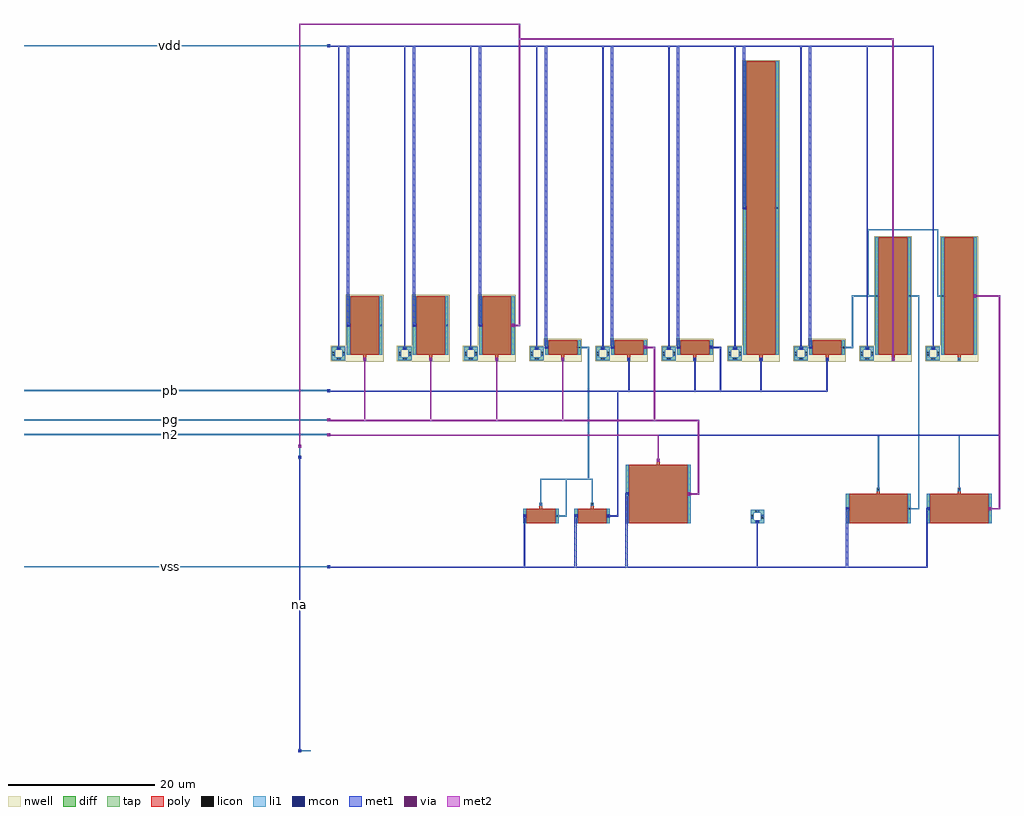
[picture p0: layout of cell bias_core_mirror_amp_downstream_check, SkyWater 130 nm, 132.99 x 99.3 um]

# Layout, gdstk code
import gdstk
lib = gdstk.Library(unit=1e-6, precision=1e-09)
def R(c, l, rs):  # rectangles x0, y0, x1, y1
    for r in rs: c.add(gdstk.rectangle(r[:2], r[2:], *l))
def A(c, l, x, y, w, h, nx, ny, dx, dy):  # array of equal rectangles
    R(c, l, [(x+i*dx, y+j*dy, x+i*dx+w, y+j*dy+h) for i in range(nx) for j in range(ny)])
def P(c, l, *ps):  # polygons
    for p in ps: c.add(gdstk.Polygon(p, *l))
nwell = (64, 20)
diff = (65, 20)
tap = (65, 44)
poly = (66, 20)
licon = (66, 44)
li1 = (67, 20)
mcon = (67, 44)
met1 = (68, 20)
via = (68, 44)
met2 = (69, 20)

stub_na__promo_stub_v = lib.new_cell('stub_na__promo_stub_v')
R(stub_na__promo_stub_v, li1, [(0,0,0.17,1.5)])

stub_n2__promo_stub = lib.new_cell('stub_n2__promo_stub')
R(stub_n2__promo_stub, li1, [(0,0,1.5,0.17)])

stub_pb__promo_stub = lib.new_cell('stub_pb__promo_stub')
R(stub_pb__promo_stub, li1, [(0,0,1.5,0.17)])

stub_pg__promo_stub = lib.new_cell('stub_pg__promo_stub')
R(stub_pg__promo_stub, li1, [(0,0,1.5,0.17)])

stub_vss__promo_stub = lib.new_cell('stub_vss__promo_stub')
R(stub_vss__promo_stub, li1, [(0,0,1.5,0.17)])

stub_vdd__promo_stub = lib.new_cell('stub_vdd__promo_stub')
R(stub_vdd__promo_stub, li1, [(0,0,1.5,0.17)])

guard_ring_10 = lib.new_cell('guard_ring$10')
P(guard_ring_10, tap, [(0,0),(0,1.42),(0.42,1.42),(0.42,0.42),(1.42,0.42),(1.42,1.42),(0,1.42),(0,1.84),(1.84,1.84),(1.84,0)])
R(guard_ring_10, licon, [(0.643,0.1,0.863,0.32), (0.977,0.1,1.197,0.32), (0.1,0.643,0.32,0.863), (1.52,0.643,1.74,0.863), (0.1,0.977,0.32,1.197), (1.52,0.977,1.74,1.197), (0.643,1.52,0.863,1.74), (0.977,1.52,1.197,1.74)])
P(guard_ring_10, li1, [(0,0),(0,1.42),(0.42,1.42),(0.42,0.42),(1.42,0.42),(1.42,1.42),(0,1.42),(0,1.84),(1.84,1.84),(1.84,0)])

pst__pst = lib.new_cell('pst__pst')
pst__pst.add(gdstk.Reference(guard_ring_10, (0,0)))

guard_ring_9 = lib.new_cell('guard_ring$9')
R(guard_ring_9, nwell, [(-0.15,-0.15,1.99,1.99)])
P(guard_ring_9, tap, [(0,0),(0,1.42),(0.42,1.42),(0.42,0.42),(1.42,0.42),(1.42,1.42),(0,1.42),(0,1.84),(1.84,1.84),(1.84,0)])
R(guard_ring_9, licon, [(0.643,0.1,0.863,0.32), (0.977,0.1,1.197,0.32), (0.1,0.643,0.32,0.863), (1.52,0.643,1.74,0.863), (0.1,0.977,0.32,1.197), (1.52,0.977,1.74,1.197), (0.643,1.52,0.863,1.74), (0.977,1.52,1.197,1.74)])
P(guard_ring_9, li1, [(0,0),(0,1.42),(0.42,1.42),(0.42,0.42),(1.42,0.42),(1.42,1.42),(0,1.42),(0,1.84),(1.84,1.84),(1.84,0)])

nwt_mi2__nwt_mi2 = lib.new_cell('nwt_mi2__nwt_mi2')
nwt_mi2__nwt_mi2.add(gdstk.Reference(guard_ring_9, (0,0)))

guard_ring_8 = lib.new_cell('guard_ring$8')
R(guard_ring_8, nwell, [(-0.15,-0.15,1.99,1.99)])
P(guard_ring_8, tap, [(0,0),(0,1.42),(0.42,1.42),(0.42,0.42),(1.42,0.42),(1.42,1.42),(0,1.42),(0,1.84),(1.84,1.84),(1.84,0)])
R(guard_ring_8, licon, [(0.643,0.1,0.863,0.32), (0.977,0.1,1.197,0.32), (0.1,0.643,0.32,0.863), (1.52,0.643,1.74,0.863), (0.1,0.977,0.32,1.197), (1.52,0.977,1.74,1.197), (0.643,1.52,0.863,1.74), (0.977,1.52,1.197,1.74)])
P(guard_ring_8, li1, [(0,0),(0,1.42),(0.42,1.42),(0.42,0.42),(1.42,0.42),(1.42,1.42),(0,1.42),(0,1.84),(1.84,1.84),(1.84,0)])

nwt_mi1__nwt_mi1 = lib.new_cell('nwt_mi1__nwt_mi1')
nwt_mi1__nwt_mi1.add(gdstk.Reference(guard_ring_8, (0,0)))

guard_ring_7 = lib.new_cell('guard_ring$7')
R(guard_ring_7, nwell, [(-0.15,-0.15,1.99,1.99)])
P(guard_ring_7, tap, [(0,0),(0,1.42),(0.42,1.42),(0.42,0.42),(1.42,0.42),(1.42,1.42),(0,1.42),(0,1.84),(1.84,1.84),(1.84,0)])
R(guard_ring_7, licon, [(0.643,0.1,0.863,0.32), (0.977,0.1,1.197,0.32), (0.1,0.643,0.32,0.863), (1.52,0.643,1.74,0.863), (0.1,0.977,0.32,1.197), (1.52,0.977,1.74,1.197), (0.643,1.52,0.863,1.74), (0.977,1.52,1.197,1.74)])
P(guard_ring_7, li1, [(0,0),(0,1.42),(0.42,1.42),(0.42,0.42),(1.42,0.42),(1.42,1.42),(0,1.42),(0,1.84),(1.84,1.84),(1.84,0)])

nwt_mpt__nwt_mpt = lib.new_cell('nwt_mpt__nwt_mpt')
nwt_mpt__nwt_mpt.add(gdstk.Reference(guard_ring_7, (0,0)))

guard_ring_6 = lib.new_cell('guard_ring$6')
R(guard_ring_6, nwell, [(-0.15,-0.15,1.99,1.99)])
P(guard_ring_6, tap, [(0,0),(0,1.42),(0.42,1.42),(0.42,0.42),(1.42,0.42),(1.42,1.42),(0,1.42),(0,1.84),(1.84,1.84),(1.84,0)])
R(guard_ring_6, licon, [(0.643,0.1,0.863,0.32), (0.977,0.1,1.197,0.32), (0.1,0.643,0.32,0.863), (1.52,0.643,1.74,0.863), (0.1,0.977,0.32,1.197), (1.52,0.977,1.74,1.197), (0.643,1.52,0.863,1.74), (0.977,1.52,1.197,1.74)])
P(guard_ring_6, li1, [(0,0),(0,1.42),(0.42,1.42),(0.42,0.42),(1.42,0.42),(1.42,1.42),(0,1.42),(0,1.84),(1.84,1.84),(1.84,0)])

nwt_mpib__nwt_mpib = lib.new_cell('nwt_mpib__nwt_mpib')
nwt_mpib__nwt_mpib.add(gdstk.Reference(guard_ring_6, (0,0)))

guard_ring_5 = lib.new_cell('guard_ring$5')
R(guard_ring_5, nwell, [(-0.15,-0.15,1.99,1.99)])
P(guard_ring_5, tap, [(0,0),(0,1.42),(0.42,1.42),(0.42,0.42),(1.42,0.42),(1.42,1.42),(0,1.42),(0,1.84),(1.84,1.84),(1.84,0)])
R(guard_ring_5, licon, [(0.643,0.1,0.863,0.32), (0.977,0.1,1.197,0.32), (0.1,0.643,0.32,0.863), (1.52,0.643,1.74,0.863), (0.1,0.977,0.32,1.197), (1.52,0.977,1.74,1.197), (0.643,1.52,0.863,1.74), (0.977,1.52,1.197,1.74)])
P(guard_ring_5, li1, [(0,0),(0,1.42),(0.42,1.42),(0.42,0.42),(1.42,0.42),(1.42,1.42),(0,1.42),(0,1.84),(1.84,1.84),(1.84,0)])

nwt_mbp__nwt_mbp = lib.new_cell('nwt_mbp__nwt_mbp')
nwt_mbp__nwt_mbp.add(gdstk.Reference(guard_ring_5, (0,0)))

guard_ring_4 = lib.new_cell('guard_ring$4')
R(guard_ring_4, nwell, [(-0.15,-0.15,1.99,1.99)])
P(guard_ring_4, tap, [(0,0),(0,1.42),(0.42,1.42),(0.42,0.42),(1.42,0.42),(1.42,1.42),(0,1.42),(0,1.84),(1.84,1.84),(1.84,0)])
R(guard_ring_4, licon, [(0.643,0.1,0.863,0.32), (0.977,0.1,1.197,0.32), (0.1,0.643,0.32,0.863), (1.52,0.643,1.74,0.863), (0.1,0.977,0.32,1.197), (1.52,0.977,1.74,1.197), (0.643,1.52,0.863,1.74), (0.977,1.52,1.197,1.74)])
P(guard_ring_4, li1, [(0,0),(0,1.42),(0.42,1.42),(0.42,0.42),(1.42,0.42),(1.42,1.42),(0,1.42),(0,1.84),(1.84,1.84),(1.84,0)])

nwt_ms2p__nwt_ms2p = lib.new_cell('nwt_ms2p__nwt_ms2p')
nwt_ms2p__nwt_ms2p.add(gdstk.Reference(guard_ring_4, (0,0)))

guard_ring_3 = lib.new_cell('guard_ring$3')
R(guard_ring_3, nwell, [(-0.15,-0.15,1.99,1.99)])
P(guard_ring_3, tap, [(0,0),(0,1.42),(0.42,1.42),(0.42,0.42),(1.42,0.42),(1.42,1.42),(0,1.42),(0,1.84),(1.84,1.84),(1.84,0)])
R(guard_ring_3, licon, [(0.643,0.1,0.863,0.32), (0.977,0.1,1.197,0.32), (0.1,0.643,0.32,0.863), (1.52,0.643,1.74,0.863), (0.1,0.977,0.32,1.197), (1.52,0.977,1.74,1.197), (0.643,1.52,0.863,1.74), (0.977,1.52,1.197,1.74)])
P(guard_ring_3, li1, [(0,0),(0,1.42),(0.42,1.42),(0.42,0.42),(1.42,0.42),(1.42,1.42),(0,1.42),(0,1.84),(1.84,1.84),(1.84,0)])

nwt_mpbn__nwt_mpbn = lib.new_cell('nwt_mpbn__nwt_mpbn')
nwt_mpbn__nwt_mpbn.add(gdstk.Reference(guard_ring_3, (0,0)))

guard_ring_2 = lib.new_cell('guard_ring$2')
R(guard_ring_2, nwell, [(-0.15,-0.15,1.99,1.99)])
P(guard_ring_2, tap, [(0,0),(0,1.42),(0.42,1.42),(0.42,0.42),(1.42,0.42),(1.42,1.42),(0,1.42),(0,1.84),(1.84,1.84),(1.84,0)])
R(guard_ring_2, licon, [(0.643,0.1,0.863,0.32), (0.977,0.1,1.197,0.32), (0.1,0.643,0.32,0.863), (1.52,0.643,1.74,0.863), (0.1,0.977,0.32,1.197), (1.52,0.977,1.74,1.197), (0.643,1.52,0.863,1.74), (0.977,1.52,1.197,1.74)])
P(guard_ring_2, li1, [(0,0),(0,1.42),(0.42,1.42),(0.42,0.42),(1.42,0.42),(1.42,1.42),(0,1.42),(0,1.84),(1.84,1.84),(1.84,0)])

nwt_mp1__nwt_mp1 = lib.new_cell('nwt_mp1__nwt_mp1')
nwt_mp1__nwt_mp1.add(gdstk.Reference(guard_ring_2, (0,0)))

guard_ring_1 = lib.new_cell('guard_ring$1')
R(guard_ring_1, nwell, [(-0.15,-0.15,1.99,1.99)])
P(guard_ring_1, tap, [(0,0),(0,1.42),(0.42,1.42),(0.42,0.42),(1.42,0.42),(1.42,1.42),(0,1.42),(0,1.84),(1.84,1.84),(1.84,0)])
R(guard_ring_1, licon, [(0.643,0.1,0.863,0.32), (0.977,0.1,1.197,0.32), (0.1,0.643,0.32,0.863), (1.52,0.643,1.74,0.863), (0.1,0.977,0.32,1.197), (1.52,0.977,1.74,1.197), (0.643,1.52,0.863,1.74), (0.977,1.52,1.197,1.74)])
P(guard_ring_1, li1, [(0,0),(0,1.42),(0.42,1.42),(0.42,0.42),(1.42,0.42),(1.42,1.42),(0,1.42),(0,1.84),(1.84,1.84),(1.84,0)])

nwt_mp3__nwt_mp3 = lib.new_cell('nwt_mp3__nwt_mp3')
nwt_mp3__nwt_mp3.add(gdstk.Reference(guard_ring_1, (0,0)))

guard_ring = lib.new_cell('guard_ring')
R(guard_ring, nwell, [(-0.15,-0.15,1.99,1.99)])
P(guard_ring, tap, [(0,0),(0,1.42),(0.42,1.42),(0.42,0.42),(1.42,0.42),(1.42,1.42),(0,1.42),(0,1.84),(1.84,1.84),(1.84,0)])
R(guard_ring, licon, [(0.643,0.1,0.863,0.32), (0.977,0.1,1.197,0.32), (0.1,0.643,0.32,0.863), (1.52,0.643,1.74,0.863), (0.1,0.977,0.32,1.197), (1.52,0.977,1.74,1.197), (0.643,1.52,0.863,1.74), (0.977,1.52,1.197,1.74)])
P(guard_ring, li1, [(0,0),(0,1.42),(0.42,1.42),(0.42,0.42),(1.42,0.42),(1.42,1.42),(0,1.42),(0,1.84),(1.84,1.84),(1.84,0)])

nwt_mp2__nwt_mp2 = lib.new_cell('nwt_mp2__nwt_mp2')
nwt_mp2__nwt_mp2.add(gdstk.Reference(guard_ring, (0,0)))

mos_array_14 = lib.new_cell('mos_array$14')
R(mos_array_14, diff, [(0,0,8.84,4)])
R(mos_array_14, poly, [(0.42,0,8.42,4), (4.21,4,4.63,4.82)])
R(mos_array_14, licon, [(0.1,1.89,0.32,2.11), (8.52,1.89,8.74,2.11), (4.31,4.5,4.53,4.72)])
R(mos_array_14, li1, [(0,0,0.42,4), (8.42,0,8.84,4), (4.21,4.4,4.63,4.82)])

ml2__ml2_nfet = lib.new_cell('ml2__ml2_nfet')
ml2__ml2_nfet.add(gdstk.Reference(mos_array_14, (0,0)))

mos_array_13 = lib.new_cell('mos_array$13')
R(mos_array_13, diff, [(0,0,8.84,4)])
R(mos_array_13, poly, [(0.42,0,8.42,4), (4.21,4,4.63,4.82)])
R(mos_array_13, licon, [(0.1,1.89,0.32,2.11), (8.52,1.89,8.74,2.11), (4.31,4.5,4.53,4.72)])
R(mos_array_13, li1, [(0,0,0.42,4), (8.42,0,8.84,4), (4.21,4.4,4.63,4.82)])

ml1__ml1_nfet = lib.new_cell('ml1__ml1_nfet')
ml1__ml1_nfet.add(gdstk.Reference(mos_array_13, (0,0)))

mos_array_12 = lib.new_cell('mos_array$12')
R(mos_array_12, diff, [(0,0,8.84,8)])
R(mos_array_12, poly, [(0.42,0,8.42,8), (4.21,8,4.63,8.82)])
R(mos_array_12, licon, [(0.1,3.89,0.32,4.11), (8.52,3.89,8.74,4.11), (4.31,8.5,4.53,8.72)])
R(mos_array_12, li1, [(0,0,0.42,8), (8.42,0,8.84,8), (4.21,8.4,4.63,8.82)])

ms2n__ms2n_nfet = lib.new_cell('ms2n__ms2n_nfet')
ms2n__ms2n_nfet.add(gdstk.Reference(mos_array_12, (0,0)))

mos_array_11 = lib.new_cell('mos_array$11')
R(mos_array_11, diff, [(0,0,4.84,2)])
R(mos_array_11, poly, [(0.42,0,4.42,2), (2.21,2,2.63,2.82)])
R(mos_array_11, licon, [(0.1,0.89,0.32,1.11), (4.52,0.89,4.74,1.11), (2.31,2.5,2.53,2.72)])
R(mos_array_11, li1, [(0,0,0.42,2), (4.42,0,4.84,2), (2.21,2.4,2.63,2.82)])

mbn2__mbn2_nfet = lib.new_cell('mbn2__mbn2_nfet')
mbn2__mbn2_nfet.add(gdstk.Reference(mos_array_11, (0,0)))

mos_array_10 = lib.new_cell('mos_array$10')
R(mos_array_10, diff, [(0,0,4.84,2)])
R(mos_array_10, poly, [(0.42,0,4.42,2), (2.21,2,2.63,2.82)])
R(mos_array_10, licon, [(0.1,0.89,0.32,1.11), (4.52,0.89,4.74,1.11), (2.31,2.5,2.53,2.72)])
R(mos_array_10, li1, [(0,0,0.42,2), (4.42,0,4.84,2), (2.21,2.4,2.63,2.82)])

mbn__mbn_nfet = lib.new_cell('mbn__mbn_nfet')
mbn__mbn_nfet.add(gdstk.Reference(mos_array_10, (0,0)))

mos_array_9 = lib.new_cell('mos_array$9')
R(mos_array_9, nwell, [(-0.15,-0.15,4.99,16.97)])
R(mos_array_9, diff, [(0,0,4.84,16)])
R(mos_array_9, poly, [(0.42,0,4.42,16), (2.21,16,2.63,16.82)])
R(mos_array_9, licon, [(0.1,7.89,0.32,8.11), (4.52,7.89,4.74,8.11), (2.31,16.5,2.53,16.72)])
R(mos_array_9, li1, [(0,0,0.42,16), (4.42,0,4.84,16), (2.21,16.4,2.63,16.82)])

mi2__mi2_pfet = lib.new_cell('mi2__mi2_pfet')
mi2__mi2_pfet.add(gdstk.Reference(mos_array_9, (0,0)))

mos_array_8 = lib.new_cell('mos_array$8')
R(mos_array_8, nwell, [(-0.15,-0.15,4.99,16.97)])
R(mos_array_8, diff, [(0,0,4.84,16)])
R(mos_array_8, poly, [(0.42,0,4.42,16), (2.21,16,2.63,16.82)])
R(mos_array_8, licon, [(0.1,7.89,0.32,8.11), (4.52,7.89,4.74,8.11), (2.31,16.5,2.53,16.72)])
R(mos_array_8, li1, [(0,0,0.42,16), (4.42,0,4.84,16), (2.21,16.4,2.63,16.82)])

mi1__mi1_pfet = lib.new_cell('mi1__mi1_pfet')
mi1__mi1_pfet.add(gdstk.Reference(mos_array_8, (0,0)))

mos_array_7 = lib.new_cell('mos_array$7')
R(mos_array_7, nwell, [(-0.15,-0.15,4.99,2.97)])
R(mos_array_7, diff, [(0,0,4.84,2)])
R(mos_array_7, poly, [(0.42,0,4.42,2), (2.21,2,2.63,2.82)])
R(mos_array_7, licon, [(0.1,0.89,0.32,1.11), (4.52,0.89,4.74,1.11), (2.31,2.5,2.53,2.72)])
R(mos_array_7, li1, [(0,0,0.42,2), (4.42,0,4.84,2), (2.21,2.4,2.63,2.82)])

mpt__mpt_pfet = lib.new_cell('mpt__mpt_pfet')
mpt__mpt_pfet.add(gdstk.Reference(mos_array_7, (0,0)))

mos_array_6 = lib.new_cell('mos_array$6')
R(mos_array_6, nwell, [(-0.15,-0.15,4.99,40.97)])
R(mos_array_6, diff, [(0,0,4.84,40)])
R(mos_array_6, poly, [(0.42,0,4.42,40), (2.21,40,2.63,40.82)])
R(mos_array_6, licon, [(0.1,19.89,0.32,20.11), (4.52,19.89,4.74,20.11), (2.31,40.5,2.53,40.72)])
R(mos_array_6, li1, [(0,0,0.42,40), (4.42,0,4.84,40), (2.21,40.4,2.63,40.82)])

mpib__mpib_pfet = lib.new_cell('mpib__mpib_pfet')
mpib__mpib_pfet.add(gdstk.Reference(mos_array_6, (0,0)))

mos_array_5 = lib.new_cell('mos_array$5')
R(mos_array_5, nwell, [(-0.15,-0.15,4.99,2.97)])
R(mos_array_5, diff, [(0,0,4.84,2)])
R(mos_array_5, poly, [(0.42,0,4.42,2), (2.21,2,2.63,2.82)])
R(mos_array_5, licon, [(0.1,0.89,0.32,1.11), (4.52,0.89,4.74,1.11), (2.31,2.5,2.53,2.72)])
R(mos_array_5, li1, [(0,0,0.42,2), (4.42,0,4.84,2), (2.21,2.4,2.63,2.82)])

mbp__mbp_pfet = lib.new_cell('mbp__mbp_pfet')
mbp__mbp_pfet.add(gdstk.Reference(mos_array_5, (0,0)))

mos_array_4 = lib.new_cell('mos_array$4')
R(mos_array_4, nwell, [(-0.15,-0.15,4.99,2.97)])
R(mos_array_4, diff, [(0,0,4.84,2)])
R(mos_array_4, poly, [(0.42,0,4.42,2), (2.21,2,2.63,2.82)])
R(mos_array_4, licon, [(0.1,0.89,0.32,1.11), (4.52,0.89,4.74,1.11), (2.31,2.5,2.53,2.72)])
R(mos_array_4, li1, [(0,0,0.42,2), (4.42,0,4.84,2), (2.21,2.4,2.63,2.82)])

ms2p__ms2p_pfet = lib.new_cell('ms2p__ms2p_pfet')
ms2p__ms2p_pfet.add(gdstk.Reference(mos_array_4, (0,0)))

mos_array_3 = lib.new_cell('mos_array$3')
R(mos_array_3, nwell, [(-0.15,-0.15,4.99,2.97)])
R(mos_array_3, diff, [(0,0,4.84,2)])
R(mos_array_3, poly, [(0.42,0,4.42,2), (2.21,2,2.63,2.82)])
R(mos_array_3, licon, [(0.1,0.89,0.32,1.11), (4.52,0.89,4.74,1.11), (2.31,2.5,2.53,2.72)])
R(mos_array_3, li1, [(0,0,0.42,2), (4.42,0,4.84,2), (2.21,2.4,2.63,2.82)])

mpbn__mpbn_pfet = lib.new_cell('mpbn__mpbn_pfet')
mpbn__mpbn_pfet.add(gdstk.Reference(mos_array_3, (0,0)))

mos_array_2 = lib.new_cell('mos_array$2')
R(mos_array_2, nwell, [(-0.15,-0.15,4.99,8.97)])
R(mos_array_2, diff, [(0,0,4.84,8)])
R(mos_array_2, poly, [(0.42,0,4.42,8), (2.21,8,2.63,8.82)])
R(mos_array_2, licon, [(0.1,3.89,0.32,4.11), (4.52,3.89,4.74,4.11), (2.31,8.5,2.53,8.72)])
R(mos_array_2, li1, [(0,0,0.42,8), (4.42,0,4.84,8), (2.21,8.4,2.63,8.82)])

mp1__mp1_pfet = lib.new_cell('mp1__mp1_pfet')
mp1__mp1_pfet.add(gdstk.Reference(mos_array_2, (0,0)))

mos_array_1 = lib.new_cell('mos_array$1')
R(mos_array_1, nwell, [(-0.15,-0.15,4.99,8.97)])
R(mos_array_1, diff, [(0,0,4.84,8)])
R(mos_array_1, poly, [(0.42,0,4.42,8), (2.21,8,2.63,8.82)])
R(mos_array_1, licon, [(0.1,3.89,0.32,4.11), (4.52,3.89,4.74,4.11), (2.31,8.5,2.53,8.72)])
R(mos_array_1, li1, [(0,0,0.42,8), (4.42,0,4.84,8), (2.21,8.4,2.63,8.82)])

mp3__mp3_pfet = lib.new_cell('mp3__mp3_pfet')
mp3__mp3_pfet.add(gdstk.Reference(mos_array_1, (0,0)))

mos_array = lib.new_cell('mos_array')
R(mos_array, nwell, [(-0.15,-0.15,4.99,8.97)])
R(mos_array, diff, [(0,0,4.84,8)])
R(mos_array, poly, [(0.42,0,4.42,8), (2.21,8,2.63,8.82)])
R(mos_array, licon, [(0.1,3.89,0.32,4.11), (4.52,3.89,4.74,4.11), (2.31,8.5,2.53,8.72)])
R(mos_array, li1, [(0,0,0.42,8), (4.42,0,4.84,8), (2.21,8.4,2.63,8.82)])

mp2__mp2_pfet = lib.new_cell('mp2__mp2_pfet')
mp2__mp2_pfet.add(gdstk.Reference(mos_array, (0,0)))

sub__bias_core_mirror_am = lib.new_cell('sub__bias_core_mirror_amp')
A(sub__bias_core_mirror_am, li1, 56.21, 22.15, 0.42, 0.42, 3, 1, 9, 0)
R(sub__bias_core_mirror_am, li1, [(-2.71,-6.125,-2.29,-5.705), (55.71,0,56.13,0.42), (55.71,0,56.13,0.42), (24,0.79,24.42,1.21), (24,0.79,24.42,1.21), (31,0.79,31.42,1.21), (31,0.79,31.42,1.21), (35.42,0.79,35.84,1.21), (35.42,0.79,35.84,1.21), (68,1.79,68.42,2.21), (68,1.79,68.42,2.21), (79,1.79,79.42,2.21), (87.42,1.79,87.84,2.21), (87.42,1.79,87.84,2.21), (26.21,2.61,26.63,2.78), (26.21,2.61,26.63,2.78), (33.21,2.61,33.63,2.78), (33.21,2.61,33.63,2.78), (38,3.79,38.42,4.21), (38,3.79,38.42,4.21), (46.42,3.79,46.84,4.21), (72.21,4.61,72.63,4.78), (72.21,4.61,72.63,4.78), (83.21,4.61,83.63,4.78), (42.21,8.4,42.63,8.82), (42.21,8.4,42.63,8.82), (-6.625,10.29,-6.205,10.71), (-2.71,11.875,-2.29,12.295), (-2.71,13.875,-2.29,14.295), (-2.71,17.875,-2.29,18.295), (2.21,22.15,2.63,22.57), (2.21,22.15,2.63,22.57), (11.21,22.15,11.63,22.57), (11.21,22.15,11.63,22.57), (20.21,22.15,20.63,22.57), (20.21,22.15,20.63,22.57), (29.21,22.15,29.63,22.57), (29.21,22.15,29.63,22.57), (29.21,22.15,29.63,22.57), (38.21,22.15,38.63,22.57), (38.21,22.15,38.63,22.57), (47.21,22.15,47.63,22.57), (47.21,22.15,47.63,22.57), (47.21,22.15,47.63,22.57), (56.21,22.15,56.63,22.57), (-1.33,23.62,-0.91,24.04), (-1.33,23.62,-0.91,24.04), (7.67,23.62,8.09,24.04), (7.67,23.62,8.09,24.04), (16.67,23.62,17.09,24.04), (16.67,23.62,17.09,24.04), (25.67,23.62,26.09,24.04), (25.67,23.62,26.09,24.04), (34.67,23.62,35.09,24.04), (34.67,23.62,35.09,24.04), (43.67,23.62,44.09,24.04), (43.67,23.62,44.09,24.04), (52.67,23.62,53.09,24.04), (52.67,23.62,53.09,24.04), (61.67,23.62,62.09,24.04), (61.67,23.62,62.09,24.04), (70.67,23.62,71.09,24.04), (70.67,23.62,71.09,24.04), (79.67,23.62,80.09,24.04), (27,23.76,27.42,24.18), (27,23.76,27.42,24.18), (36,23.76,36.42,24.18), (36,23.76,36.42,24.18), (40.42,23.76,40.84,24.18), (45,23.76,45.42,24.18), (45,23.76,45.42,24.18), (49.42,23.76,49.84,24.18), (63,23.76,63.42,24.18), (63,23.76,63.42,24.18), (0,26.76,0.42,27.18), (0,26.76,0.42,27.18), (9,26.76,9.42,27.18), (9,26.76,9.42,27.18), (18,26.76,18.42,27.18), (18,26.76,18.42,27.18), (22.42,26.76,22.84,27.18), (22.42,26.76,22.84,27.18), (85.42,30.76,85.84,31.18), (54,42.76,54.42,43.18), (54,42.76,54.42,43.18), (-2.71,64.875,-2.29,65.295)])
A(sub__bias_core_mirror_am, mcon, 56.31, 22.25, 0.22, 0.22, 3, 1, 9, 0)
R(sub__bias_core_mirror_am, mcon, [(-2.61,-6.025,-2.39,-5.805), (55.81,0.1,56.03,0.32), (55.81,0.1,56.03,0.32), (24.1,0.89,24.32,1.11), (24.1,0.89,24.32,1.11), (31.1,0.89,31.32,1.11), (31.1,0.89,31.32,1.11), (35.52,0.89,35.74,1.11), (35.52,0.89,35.74,1.11), (68.1,1.89,68.32,2.11), (68.1,1.89,68.32,2.11), (79.1,1.89,79.32,2.11), (87.52,1.89,87.74,2.11), (87.52,1.89,87.74,2.11), (38.1,3.89,38.32,4.11), (38.1,3.89,38.32,4.11), (46.52,3.89,46.74,4.11), (42.31,8.5,42.53,8.72), (42.31,8.5,42.53,8.72), (-6.525,10.39,-6.305,10.61), (-2.61,11.975,-2.39,12.195), (-2.61,13.975,-2.39,14.195), (-2.61,17.975,-2.39,18.195), (2.31,22.25,2.53,22.47), (2.31,22.25,2.53,22.47), (11.31,22.25,11.53,22.47), (11.31,22.25,11.53,22.47), (20.31,22.25,20.53,22.47), (20.31,22.25,20.53,22.47), (29.31,22.25,29.53,22.47), (29.31,22.25,29.53,22.47), (29.31,22.25,29.53,22.47), (38.31,22.25,38.53,22.47), (38.31,22.25,38.53,22.47), (47.31,22.25,47.53,22.47), (47.31,22.25,47.53,22.47), (47.31,22.25,47.53,22.47), (56.31,22.25,56.53,22.47), (-1.23,23.72,-1.01,23.94), (-1.23,23.72,-1.01,23.94), (7.77,23.72,7.99,23.94), (7.77,23.72,7.99,23.94), (16.77,23.72,16.99,23.94), (16.77,23.72,16.99,23.94), (25.77,23.72,25.99,23.94), (25.77,23.72,25.99,23.94), (34.77,23.72,34.99,23.94), (34.77,23.72,34.99,23.94), (43.77,23.72,43.99,23.94), (43.77,23.72,43.99,23.94), (52.77,23.72,52.99,23.94), (52.77,23.72,52.99,23.94), (61.77,23.72,61.99,23.94), (61.77,23.72,61.99,23.94), (70.77,23.72,70.99,23.94), (70.77,23.72,70.99,23.94), (79.77,23.72,79.99,23.94), (27.1,23.86,27.32,24.08), (27.1,23.86,27.32,24.08), (36.1,23.86,36.32,24.08), (36.1,23.86,36.32,24.08), (40.52,23.86,40.74,24.08), (45.1,23.86,45.32,24.08), (45.1,23.86,45.32,24.08), (49.52,23.86,49.74,24.08), (63.1,23.86,63.32,24.08), (63.1,23.86,63.32,24.08), (0.1,26.86,0.32,27.08), (0.1,26.86,0.32,27.08), (9.1,26.86,9.32,27.08), (9.1,26.86,9.32,27.08), (18.1,26.86,18.32,27.08), (18.1,26.86,18.32,27.08), (22.52,26.86,22.74,27.08), (22.52,26.86,22.74,27.08), (85.52,30.86,85.74,31.08), (54.1,42.86,54.32,43.08), (54.1,42.86,54.32,43.08), (-2.61,64.975,-2.39,65.195)])
A(sub__bias_core_mirror_am, met1, 56.21, 22.15, 0.42, 0.42, 3, 1, 9, 0)
R(sub__bias_core_mirror_am, met1, [(-2.71,-6.125,-2.29,-5.705), (55.71,0,56.13,0.42), (55.71,0,56.13,0.42), (24,0.79,24.42,1.21), (24,0.79,24.42,1.21), (31,0.79,31.42,1.21), (31,0.79,31.42,1.21), (35.42,0.79,35.84,1.21), (35.42,0.79,35.84,1.21), (68,1.79,68.42,2.21), (68,1.79,68.42,2.21), (79,1.79,79.42,2.21), (87.42,1.79,87.84,2.21), (87.42,1.79,87.84,2.21), (87.42,1.79,87.84,2.21), (38,3.79,38.42,4.21), (38,3.79,38.42,4.21), (46.42,3.79,46.84,4.21), (46.42,3.79,46.84,4.21), (42.21,8.4,42.63,8.82), (42.21,8.4,42.63,8.82), (42.21,8.4,42.63,8.82), (-6.625,10.29,-6.205,10.71), (-6.625,10.29,-6.205,10.71), (-2.71,11.875,-2.29,12.295), (-2.71,11.875,-2.29,12.295), (-2.71,13.875,-2.29,14.295), (-2.71,13.875,-2.29,14.295), (-2.71,17.875,-2.29,18.295), (2.21,22.15,2.63,22.57), (2.21,22.15,2.63,22.57), (2.21,22.15,2.63,22.57), (2.21,22.15,2.63,22.57), (11.21,22.15,11.63,22.57), (11.21,22.15,11.63,22.57), (11.21,22.15,11.63,22.57), (11.21,22.15,11.63,22.57), (20.21,22.15,20.63,22.57), (20.21,22.15,20.63,22.57), (20.21,22.15,20.63,22.57), (20.21,22.15,20.63,22.57), (29.21,22.15,29.63,22.57), (29.21,22.15,29.63,22.57), (29.21,22.15,29.63,22.57), (29.21,22.15,29.63,22.57), (29.21,22.15,29.63,22.57), (29.21,22.15,29.63,22.57), (38.21,22.15,38.63,22.57), (38.21,22.15,38.63,22.57), (47.21,22.15,47.63,22.57), (47.21,22.15,47.63,22.57), (47.21,22.15,47.63,22.57), (56.21,22.15,56.63,22.57), (74.21,22.15,74.63,22.57), (-1.33,23.62,-0.91,24.04), (-1.33,23.62,-0.91,24.04), (7.67,23.62,8.09,24.04), (7.67,23.62,8.09,24.04), (16.67,23.62,17.09,24.04), (16.67,23.62,17.09,24.04), (25.67,23.62,26.09,24.04), (25.67,23.62,26.09,24.04), (34.67,23.62,35.09,24.04), (34.67,23.62,35.09,24.04), (43.67,23.62,44.09,24.04), (43.67,23.62,44.09,24.04), (52.67,23.62,53.09,24.04), (52.67,23.62,53.09,24.04), (61.67,23.62,62.09,24.04), (61.67,23.62,62.09,24.04), (70.67,23.62,71.09,24.04), (70.67,23.62,71.09,24.04), (79.67,23.62,80.09,24.04), (27,23.76,27.42,24.18), (27,23.76,27.42,24.18), (36,23.76,36.42,24.18), (36,23.76,36.42,24.18), (40.42,23.76,40.84,24.18), (40.42,23.76,40.84,24.18), (45,23.76,45.42,24.18), (45,23.76,45.42,24.18), (49.42,23.76,49.84,24.18), (63,23.76,63.42,24.18), (63,23.76,63.42,24.18), (0,26.76,0.42,27.18), (0,26.76,0.42,27.18), (9,26.76,9.42,27.18), (9,26.76,9.42,27.18), (18,26.76,18.42,27.18), (18,26.76,18.42,27.18), (22.42,26.76,22.84,27.18), (22.42,26.76,22.84,27.18), (22.42,26.76,22.84,27.18), (22.42,26.76,22.84,27.18), (85.42,30.76,85.84,31.18), (85.42,30.76,85.84,31.18), (54,42.76,54.42,43.18), (54,42.76,54.42,43.18), (-2.71,64.875,-2.29,65.295)])
R(sub__bias_core_mirror_am, via, [(87.52,1.89,87.74,2.11), (46.52,3.89,46.74,4.11), (42.31,8.5,42.53,8.72), (-6.525,10.39,-6.305,10.61), (-2.61,11.975,-2.39,12.195), (-2.61,13.975,-2.39,14.195), (2.31,22.25,2.53,22.47), (2.31,22.25,2.53,22.47), (11.31,22.25,11.53,22.47), (11.31,22.25,11.53,22.47), (20.31,22.25,20.53,22.47), (20.31,22.25,20.53,22.47), (29.31,22.25,29.53,22.47), (29.31,22.25,29.53,22.47), (29.31,22.25,29.53,22.47), (74.31,22.25,74.53,22.47), (40.52,23.86,40.74,24.08), (22.52,26.86,22.74,27.08), (22.52,26.86,22.74,27.08), (85.52,30.86,85.74,31.08)])
R(sub__bias_core_mirror_am, met2, [(87.42,1.79,87.84,2.21), (46.42,3.79,46.84,4.21), (42.21,8.4,42.63,8.82), (-6.625,10.29,-6.205,10.71), (-2.71,11.875,-2.29,12.295), (-2.71,13.875,-2.29,14.295), (2.21,22.15,2.63,22.57), (2.21,22.15,2.63,22.57), (11.21,22.15,11.63,22.57), (11.21,22.15,11.63,22.57), (20.21,22.15,20.63,22.57), (20.21,22.15,20.63,22.57), (29.21,22.15,29.63,22.57), (29.21,22.15,29.63,22.57), (29.21,22.15,29.63,22.57), (74.21,22.15,74.63,22.57), (40.42,23.76,40.84,24.18), (22.42,26.76,22.84,27.18), (22.42,26.76,22.84,27.18), (85.42,30.76,85.84,31.18)])
sub__bias_core_mirror_am.add(gdstk.FlexPath([(31.63,23.97),(32.9,23.97),(32.9,6),(33.42,6),(33.42,2.61)], 0.17, ends="flush", simple_path=True, layer=67, datatype=20))  # li1
sub__bias_core_mirror_am.add(gdstk.FlexPath([(33.42,2.61),(33.42,6),(26.42,6),(26.42,2.61)], 0.17, ends="flush", simple_path=True, layer=67, datatype=20))  # li1
sub__bias_core_mirror_am.add(gdstk.FlexPath([(26.42,2.61),(26.42,6),(29.9,6),(29.9,1),(28.63,1)], 0.17, ends="flush", simple_path=True, layer=67, datatype=20))  # li1
sub__bias_core_mirror_am.add(gdstk.FlexPath([(67.63,23.97),(68.9,23.97),(68.9,30.97),(72.21,30.97)], 0.17, ends="flush", simple_path=True, layer=67, datatype=20))  # li1
sub__bias_core_mirror_am.add(gdstk.FlexPath([(72.21,30.97),(71,30.97),(71,40),(80.5,40),(80.5,30.97),(81.21,30.97)], 0.17, ends="flush", simple_path=True, layer=67, datatype=20))  # li1
sub__bias_core_mirror_am.add(gdstk.FlexPath([(76.63,30.97),(77.9,30.97),(77.9,2),(76.63,2)], 0.17, ends="flush", simple_path=True, layer=67, datatype=20))  # li1
sub__bias_core_mirror_am.add(gdstk.FlexPath([(76.63,2),(77.9,2),(77.9,12),(72.42,12),(72.42,4.61)], 0.17, ends="flush", simple_path=True, layer=67, datatype=20))  # li1
sub__bias_core_mirror_am.add(gdstk.FlexPath([(72.42,4.61),(72.42,12),(83.42,12),(83.42,4.61)], 0.17, ends="flush", simple_path=True, layer=67, datatype=20))  # li1
sub__bias_core_mirror_am.add(gdstk.FlexPath([(-1.12,23.83),(-1.12,65),(0.04,65),(0.04,26.97),(0.21,26.97)], 0.17, ends="flush", simple_path=True, layer=68, datatype=20))  # met1
sub__bias_core_mirror_am.add(gdstk.FlexPath([(0.21,26.97),(0.21,65),(7.88,65),(7.88,23.83)], 0.17, ends="flush", simple_path=True, layer=68, datatype=20))  # met1
sub__bias_core_mirror_am.add(gdstk.FlexPath([(7.88,23.83),(7.88,65),(9.04,65),(9.04,26.97),(9.21,26.97)], 0.17, ends="flush", simple_path=True, layer=68, datatype=20))  # met1
sub__bias_core_mirror_am.add(gdstk.FlexPath([(9.21,26.97),(9.21,65),(16.88,65),(16.88,23.83)], 0.17, ends="flush", simple_path=True, layer=68, datatype=20))  # met1
sub__bias_core_mirror_am.add(gdstk.FlexPath([(16.88,23.83),(16.88,65),(18.04,65),(18.04,26.97),(18.21,26.97)], 0.17, ends="flush", simple_path=True, layer=68, datatype=20))  # met1
sub__bias_core_mirror_am.add(gdstk.FlexPath([(18.21,26.97),(18.21,65),(25.88,65),(25.88,23.83)], 0.17, ends="flush", simple_path=True, layer=68, datatype=20))  # met1
sub__bias_core_mirror_am.add(gdstk.FlexPath([(25.88,23.83),(25.88,65),(27.04,65),(27.04,23.97),(27.21,23.97)], 0.17, ends="flush", simple_path=True, layer=68, datatype=20))  # met1
sub__bias_core_mirror_am.add(gdstk.FlexPath([(27.21,23.97),(27.21,65),(34.88,65),(34.88,23.83)], 0.17, ends="flush", simple_path=True, layer=68, datatype=20))  # met1
sub__bias_core_mirror_am.add(gdstk.FlexPath([(34.88,23.83),(34.88,65),(36.04,65),(36.04,23.97),(36.21,23.97)], 0.17, ends="flush", simple_path=True, layer=68, datatype=20))  # met1
sub__bias_core_mirror_am.add(gdstk.FlexPath([(36.21,23.97),(36.21,65),(43.88,65),(43.88,23.83)], 0.17, ends="flush", simple_path=True, layer=68, datatype=20))  # met1
sub__bias_core_mirror_am.add(gdstk.FlexPath([(43.88,23.83),(43.88,65),(45.04,65),(45.04,23.97),(45.21,23.97)], 0.17, ends="flush", simple_path=True, layer=68, datatype=20))  # met1
sub__bias_core_mirror_am.add(gdstk.FlexPath([(45.21,23.97),(45.21,65),(52.88,65),(52.88,23.83)], 0.17, ends="flush", simple_path=True, layer=68, datatype=20))  # met1
sub__bias_core_mirror_am.add(gdstk.FlexPath([(52.88,23.83),(52.88,65),(54.04,65),(54.04,42.97),(54.21,42.97)], 0.17, ends="flush", simple_path=True, layer=68, datatype=20))  # met1
sub__bias_core_mirror_am.add(gdstk.FlexPath([(54.21,42.97),(54.21,65),(61.88,65),(61.88,23.83)], 0.17, ends="flush", simple_path=True, layer=68, datatype=20))  # met1
sub__bias_core_mirror_am.add(gdstk.FlexPath([(61.88,23.83),(61.88,65),(63.04,65),(63.04,23.97),(63.21,23.97)], 0.17, ends="flush", simple_path=True, layer=68, datatype=20))  # met1
sub__bias_core_mirror_am.add(gdstk.FlexPath([(63.21,23.97),(63.21,65),(70.88,65),(70.88,23.83)], 0.17, ends="flush", simple_path=True, layer=68, datatype=20))  # met1
sub__bias_core_mirror_am.add(gdstk.FlexPath([(70.88,23.83),(70.88,65),(79.88,65),(79.88,23.83)], 0.17, ends="flush", simple_path=True, layer=68, datatype=20))  # met1
sub__bias_core_mirror_am.add(gdstk.FlexPath([(-1.12,23.83),(-1.12,65),(-2.33,65),(-2.33,65.085),(-2.5,65.085)], 0.17, ends="flush", simple_path=True, layer=68, datatype=20))  # met1
sub__bias_core_mirror_am.add(gdstk.FlexPath([(24.21,1),(24.21,-6),(31.04,-6),(31.04,1),(31.21,1)], 0.17, ends="flush", simple_path=True, layer=68, datatype=20))  # met1
sub__bias_core_mirror_am.add(gdstk.FlexPath([(31.21,1),(31.21,-6),(38.04,-6),(38.04,4),(38.21,4)], 0.17, ends="flush", simple_path=True, layer=68, datatype=20))  # met1
sub__bias_core_mirror_am.add(gdstk.FlexPath([(38.21,4),(38.21,-6),(55.92,-6),(55.92,0.21)], 0.17, ends="flush", simple_path=True, layer=68, datatype=20))  # met1
sub__bias_core_mirror_am.add(gdstk.FlexPath([(55.92,0.21),(55.92,-6),(68.04,-6),(68.04,2),(68.21,2)], 0.17, ends="flush", simple_path=True, layer=68, datatype=20))  # met1
sub__bias_core_mirror_am.add(gdstk.FlexPath([(68.21,2),(68.21,-6),(79.04,-6),(79.04,2),(79.21,2)], 0.17, ends="flush", simple_path=True, layer=68, datatype=20))  # met1
sub__bias_core_mirror_am.add(gdstk.FlexPath([(24.21,1),(24.21,-6),(-2.33,-6),(-2.33,-5.915),(-2.5,-5.915)], 0.17, ends="flush", simple_path=True, layer=68, datatype=20))  # met1
sub__bias_core_mirror_am.add(gdstk.FlexPath([(35.63,1),(36.9,1),(36.9,18),(38.42,18),(38.42,22.36)], 0.17, ends="flush", simple_path=True, layer=68, datatype=20))  # met1
sub__bias_core_mirror_am.add(gdstk.FlexPath([(38.42,22.36),(38.42,18),(47.42,18),(47.42,22.36)], 0.17, ends="flush", simple_path=True, layer=68, datatype=20))  # met1
sub__bias_core_mirror_am.add(gdstk.FlexPath([(47.42,22.36),(47.42,18),(50.9,18),(50.9,23.97),(49.63,23.97)], 0.17, ends="flush", simple_path=True, layer=68, datatype=20))  # met1
sub__bias_core_mirror_am.add(gdstk.FlexPath([(47.42,22.36),(47.42,18),(56.42,18),(56.42,22.36)], 0.17, ends="flush", simple_path=True, layer=68, datatype=20))  # met1
sub__bias_core_mirror_am.add(gdstk.FlexPath([(56.42,22.36),(56.42,18),(65.42,18),(65.42,22.36)], 0.17, ends="flush", simple_path=True, layer=68, datatype=20))  # met1
sub__bias_core_mirror_am.add(gdstk.FlexPath([(35.63,1),(36.9,1),(36.9,18),(-2.33,18),(-2.33,18.085),(-2.5,18.085)], 0.17, ends="flush", simple_path=True, layer=68, datatype=20))  # met1
sub__bias_core_mirror_am.add(gdstk.FlexPath([(87.63,2),(88.9,2),(88.9,12),(42.42,12),(42.42,8.61)], 0.17, ends="flush", simple_path=True, layer=68, datatype=20))  # met1
sub__bias_core_mirror_am.add(gdstk.FlexPath([(2.42,22.36),(2.42,14),(11.42,14),(11.42,22.36)], 0.17, ends="flush", simple_path=True, layer=69, datatype=20))  # met2
sub__bias_core_mirror_am.add(gdstk.FlexPath([(11.42,22.36),(11.42,14),(20.42,14),(20.42,22.36)], 0.17, ends="flush", simple_path=True, layer=69, datatype=20))  # met2
sub__bias_core_mirror_am.add(gdstk.FlexPath([(20.42,22.36),(20.42,14),(29.42,14),(29.42,22.36)], 0.17, ends="flush", simple_path=True, layer=69, datatype=20))  # met2
sub__bias_core_mirror_am.add(gdstk.FlexPath([(29.42,22.36),(29.42,14),(41.9,14),(41.9,23.97),(40.63,23.97)], 0.17, ends="flush", simple_path=True, layer=69, datatype=20))  # met2
sub__bias_core_mirror_am.add(gdstk.FlexPath([(29.42,22.36),(29.42,14),(47.9,14),(47.9,4),(46.63,4)], 0.17, ends="flush", simple_path=True, layer=69, datatype=20))  # met2
sub__bias_core_mirror_am.add(gdstk.FlexPath([(2.42,22.36),(2.42,14),(-2.33,14),(-2.33,14.085),(-2.5,14.085)], 0.17, ends="flush", simple_path=True, layer=69, datatype=20))  # met2
sub__bias_core_mirror_am.add(gdstk.FlexPath([(22.63,26.97),(23.5,26.97),(23.5,66),(74.42,66),(74.42,22.36)], 0.17, ends="flush", simple_path=True, layer=69, datatype=20))  # met2
sub__bias_core_mirror_am.add(gdstk.FlexPath([(22.63,26.97),(23.5,26.97),(23.5,68),(-6.415,68),(-6.415,10.5)], 0.17, ends="flush", simple_path=True, layer=69, datatype=20))  # met2
sub__bias_core_mirror_am.add(gdstk.FlexPath([(85.63,30.97),(88.9,30.97),(88.9,2),(87.63,2)], 0.17, ends="flush", simple_path=True, layer=69, datatype=20))  # met2
sub__bias_core_mirror_am.add(gdstk.FlexPath([(42.42,8.61),(42.42,12),(-2.33,12),(-2.33,12.085),(-2.5,12.085)], 0.17, ends="flush", simple_path=True, layer=69, datatype=20))  # met2
sub__bias_core_mirror_am.add(gdstk.Reference(stub_na__promo_stub_v, (-6.5,9)))
sub__bias_core_mirror_am.add(gdstk.Reference(stub_n2__promo_stub, (-4,12)))
sub__bias_core_mirror_am.add(gdstk.Reference(stub_pb__promo_stub, (-4,18)))
sub__bias_core_mirror_am.add(gdstk.Reference(stub_pg__promo_stub, (-4,14)))
sub__bias_core_mirror_am.add(gdstk.Reference(stub_vss__promo_stub, (-4,-6)))
sub__bias_core_mirror_am.add(gdstk.Reference(stub_vdd__promo_stub, (-4,65)))
sub__bias_core_mirror_am.add(gdstk.Reference(pst__pst, (55,0)))
sub__bias_core_mirror_am.add(gdstk.Reference(nwt_mi2__nwt_mi2, (78.96,22.2)))
sub__bias_core_mirror_am.add(gdstk.Reference(nwt_mi1__nwt_mi1, (69.96,22.2)))
sub__bias_core_mirror_am.add(gdstk.Reference(nwt_mpt__nwt_mpt, (60.96,22.2)))
sub__bias_core_mirror_am.add(gdstk.Reference(nwt_mpib__nwt_mpib, (51.96,22.2)))
sub__bias_core_mirror_am.add(gdstk.Reference(nwt_mbp__nwt_mbp, (42.96,22.2)))
sub__bias_core_mirror_am.add(gdstk.Reference(nwt_ms2p__nwt_ms2p, (33.96,22.2)))
sub__bias_core_mirror_am.add(gdstk.Reference(nwt_mpbn__nwt_mpbn, (24.96,22.2)))
sub__bias_core_mirror_am.add(gdstk.Reference(nwt_mp1__nwt_mp1, (15.96,22.2)))
sub__bias_core_mirror_am.add(gdstk.Reference(nwt_mp3__nwt_mp3, (6.96,22.2)))
sub__bias_core_mirror_am.add(gdstk.Reference(nwt_mp2__nwt_mp2, (-2.04,22.2)))
sub__bias_core_mirror_am.add(gdstk.Reference(ml2__ml2_nfet, (79,0)))
sub__bias_core_mirror_am.add(gdstk.Reference(ml1__ml1_nfet, (68,0)))
sub__bias_core_mirror_am.add(gdstk.Reference(ms2n__ms2n_nfet, (38,0)))
sub__bias_core_mirror_am.add(gdstk.Reference(mbn2__mbn2_nfet, (31,0)))
sub__bias_core_mirror_am.add(gdstk.Reference(mbn__mbn_nfet, (24,0)))
sub__bias_core_mirror_am.add(gdstk.Reference(mi2__mi2_pfet, (81,38.97), x_reflection=True))
sub__bias_core_mirror_am.add(gdstk.Reference(mi1__mi1_pfet, (72,38.97), x_reflection=True))
sub__bias_core_mirror_am.add(gdstk.Reference(mpt__mpt_pfet, (63,24.97), x_reflection=True))
sub__bias_core_mirror_am.add(gdstk.Reference(mpib__mpib_pfet, (54,62.97), x_reflection=True))
sub__bias_core_mirror_am.add(gdstk.Reference(mbp__mbp_pfet, (45,24.97), x_reflection=True))
sub__bias_core_mirror_am.add(gdstk.Reference(ms2p__ms2p_pfet, (36,24.97), x_reflection=True))
sub__bias_core_mirror_am.add(gdstk.Reference(mpbn__mpbn_pfet, (27,24.97), x_reflection=True))
sub__bias_core_mirror_am.add(gdstk.Reference(mp1__mp1_pfet, (18,30.97), x_reflection=True))
sub__bias_core_mirror_am.add(gdstk.Reference(mp3__mp3_pfet, (9,30.97), x_reflection=True))
sub__bias_core_mirror_am.add(gdstk.Reference(mp2__mp2_pfet, (0,30.97), x_reflection=True))
sub__bias_core_mirror_am.add(gdstk.Label('vdd', (-1.12,64.095), layer=68, texttype=5))
sub__bias_core_mirror_am.add(gdstk.Label('vss', (27.71,-6), layer=68, texttype=5))
sub__bias_core_mirror_am.add(gdstk.Label('pb', (36.9,11.805), layer=68, texttype=5))
sub__bias_core_mirror_am.add(gdstk.Label('pg', (6.92,14), layer=69, texttype=5))
sub__bias_core_mirror_am.add(gdstk.Label('na', (50.83,66), layer=69, texttype=5))
sub__bias_core_mirror_am.add(gdstk.Label('n2', (88.9,17.485), layer=69, texttype=5))
sub__bias_core_mirror_am.add(gdstk.Label('nbg', (32.9,13.665), layer=67, texttype=5))
sub__bias_core_mirror_am.add(gdstk.Label('nt', (68.9,28.49), layer=67, texttype=5))
sub__bias_core_mirror_am.add(gdstk.Label('n1', (77.9,16.485), layer=67, texttype=5))
sub__bias_core_mirror_am.add(gdstk.Label('nbtop', (4.63,26.97), layer=67, texttype=5))
sub__bias_core_mirror_am.add(gdstk.Label('vref', (13.63,26.97), layer=67, texttype=5))
sub__bias_core_mirror_am.add(gdstk.Label('ibias', (58.63,42.97), layer=67, texttype=5))
sub__bias_core_mirror_am.add(gdstk.Label('nb', (83.42,22.36), layer=67, texttype=5))
sub__bias_core_mirror_am.add(gdstk.Label('vdd', (-4,65.085), layer=67, texttype=5))
sub__bias_core_mirror_am.add(gdstk.Label('vss', (-4,-5.915), layer=67, texttype=5))
sub__bias_core_mirror_am.add(gdstk.Label('pg', (-4,14.085), layer=67, texttype=5))
sub__bias_core_mirror_am.add(gdstk.Label('pb', (-4,18.085), layer=67, texttype=5))
sub__bias_core_mirror_am.add(gdstk.Label('n2', (-4,12.085), layer=67, texttype=5))
sub__bias_core_mirror_am.add(gdstk.Label('na', (-6.415,9), layer=67, texttype=5))

dummy_vdd__promo_stub = lib.new_cell('dummy_vdd__promo_stub')
R(dummy_vdd__promo_stub, li1, [(0,0,1.5,0.17)])

dummy_vss__promo_stub = lib.new_cell('dummy_vss__promo_stub')
R(dummy_vss__promo_stub, li1, [(0,0,1.5,0.17)])

dummy_pg__promo_stub = lib.new_cell('dummy_pg__promo_stub')
R(dummy_pg__promo_stub, li1, [(0,0,1.5,0.17)])

dummy_pb__promo_stub = lib.new_cell('dummy_pb__promo_stub')
R(dummy_pb__promo_stub, li1, [(0,0,1.5,0.17)])

dummy_n2__promo_stub = lib.new_cell('dummy_n2__promo_stub')
R(dummy_n2__promo_stub, li1, [(0,0,1.5,0.17)])

dummy_na__promo_stub = lib.new_cell('dummy_na__promo_stub')
R(dummy_na__promo_stub, li1, [(0,0,1.5,0.17)])

bias_core_mirror_amp_dow = lib.new_cell('bias_core_mirror_amp_downstream_check')
R(bias_core_mirror_amp_dow, li1, [(-6.625,-31.21,-6.205,-30.79), (-6.625,8.79,-6.205,9.21)])
R(bias_core_mirror_amp_dow, mcon, [(-6.525,-31.11,-6.305,-30.89), (-6.525,8.89,-6.305,9.11)])
R(bias_core_mirror_amp_dow, met1, [(-6.625,-31.21,-6.205,-30.79), (-6.625,8.79,-6.205,9.21)])
bias_core_mirror_amp_dow.add(gdstk.FlexPath([(-4,65.085),(-44,65.085)], 0.17, ends="flush", simple_path=True, layer=67, datatype=20))  # li1
bias_core_mirror_amp_dow.add(gdstk.FlexPath([(-4,-5.915),(-44,-5.915)], 0.17, ends="flush", simple_path=True, layer=67, datatype=20))  # li1
bias_core_mirror_amp_dow.add(gdstk.FlexPath([(-4,14.085),(-44,14.085)], 0.17, ends="flush", simple_path=True, layer=67, datatype=20))  # li1
bias_core_mirror_amp_dow.add(gdstk.FlexPath([(-4,18.085),(-44,18.085)], 0.17, ends="flush", simple_path=True, layer=67, datatype=20))  # li1
bias_core_mirror_amp_dow.add(gdstk.FlexPath([(-4,12.085),(-44,12.085)], 0.17, ends="flush", simple_path=True, layer=67, datatype=20))  # li1
bias_core_mirror_amp_dow.add(gdstk.FlexPath([(-6.415,9),(-6.415,-31)], 0.14, ends="flush", simple_path=True, layer=68, datatype=20))  # met1
bias_core_mirror_amp_dow.add(gdstk.Reference(sub__bias_core_mirror_am, (0,0)))
bias_core_mirror_amp_dow.add(gdstk.Reference(dummy_vdd__promo_stub, (-44,65)))
bias_core_mirror_amp_dow.add(gdstk.Reference(dummy_vss__promo_stub, (-44,-6)))
bias_core_mirror_amp_dow.add(gdstk.Reference(dummy_pg__promo_stub, (-44,14)))
bias_core_mirror_amp_dow.add(gdstk.Reference(dummy_pb__promo_stub, (-44,18)))
bias_core_mirror_amp_dow.add(gdstk.Reference(dummy_n2__promo_stub, (-44,12)))
bias_core_mirror_amp_dow.add(gdstk.Reference(dummy_na__promo_stub, (-6.415,-31.085)))
bias_core_mirror_amp_dow.add(gdstk.Label('na', (-6.415,-11), layer=68, texttype=5))
bias_core_mirror_amp_dow.add(gdstk.Label('vdd', (-24,65.085), layer=67, texttype=5))
bias_core_mirror_amp_dow.add(gdstk.Label('vss', (-24,-5.915), layer=67, texttype=5))
bias_core_mirror_amp_dow.add(gdstk.Label('pg', (-24,14.085), layer=67, texttype=5))
bias_core_mirror_amp_dow.add(gdstk.Label('pb', (-24,18.085), layer=67, texttype=5))
bias_core_mirror_amp_dow.add(gdstk.Label('n2', (-24,12.085), layer=67, texttype=5))

lib.write_gds('bias_core_mirror_amp_downstream_check.gds')
